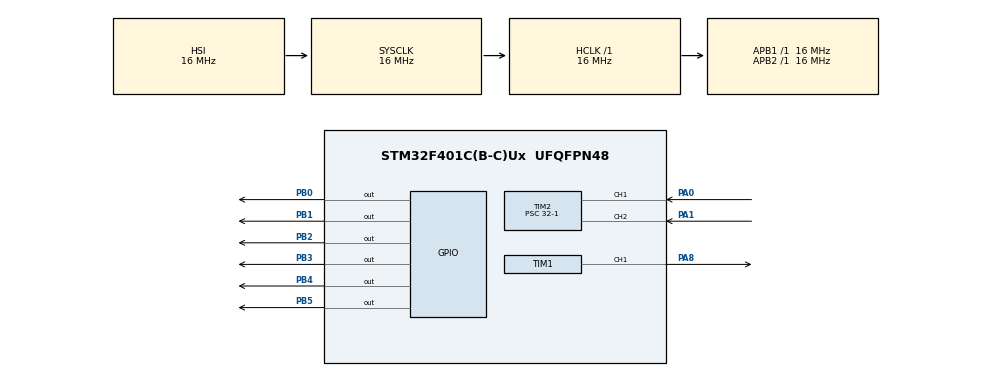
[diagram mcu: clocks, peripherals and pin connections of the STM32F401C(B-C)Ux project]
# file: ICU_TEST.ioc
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Mcu.Family=STM32F4
Mcu.Name=STM32F401C(B-C)Ux
Mcu.Package=UFQFPN48
NVIC.PriorityGroup=NVIC_PRIORITYGROUP_4
NVIC.TIM2_IRQn=true\:0\:0\:false\:false\:true\:true\:true\:true
PA0-WKUP.Signal=S_TIM2_CH1_ETR
PA1.Signal=S_TIM2_CH2
PA8.Signal=S_TIM1_CH1
PB0.Signal=GPIO_Output
PB1.Signal=GPIO_Output
PB2.Signal=GPIO_Output
PB3.Signal=GPIO_Output
PB4.Signal=GPIO_Output
PB5.Signal=GPIO_Output
PH0\ -\ OSC_IN.Mode=HSE-External-Oscillator
PH0\ -\ OSC_IN.Signal=RCC_OSC_IN
PH1\ -\ OSC_OUT.Mode=HSE-External-Oscillator
PH1\ -\ OSC_OUT.Signal=RCC_OSC_OUT
ProjectManager.HeapSize=0x200
ProjectManager.StackSize=0x400
ProjectManager.TargetToolchain=STM32CubeIDE
RCC.48MHZClocksFreq_Value=24000000
RCC.AHBFreq_Value=16000000
RCC.APB1Freq_Value=16000000
RCC.APB1TimCLKDivider=2
RCC.APB1TimFreq_Value=32000000
RCC.APB2Freq_Value=16000000
RCC.APB2TimCLKDivider=2
RCC.APB2TimFreq_Value=32000000
RCC.CortexFreq_Value=16000000
RCC.HSE_VALUE=8000000
RCC.HSI_VALUE=16000000
RCC.LSE_VALUE=32768
RCC.PLLSourceVirtual=RCC_PLLSOURCE_HSE
RCC.SYSCLKFreq_VALUE=16000000
RCC.VCOOutputFreq_Value=96000000
SH.S_TIM1_CH1.0=TIM1_CH1,PWM Generation1 CH1
SH.S_TIM2_CH1_ETR.0=TIM2_CH1,Input_Capture1_from_TI1
SH.S_TIM2_CH2.0=TIM2_CH2,Input_Capture2_from_TI2
TIM1.Channel-PWM\ Generation1\ CH1=TIM_CHANNEL_1
TIM1.Period=100-1
TIM1.Prescaler=32-1
TIM2.Channel-Input_Capture1_from_TI1=TIM_CHANNEL_1
TIM2.Channel-Input_Capture2_from_TI2=TIM_CHANNEL_2
TIM2.ICPolarity_CH2=TIM_INPUTCHANNELPOLARITY_BOTHEDGE
TIM2.Prescaler=32-1
VP_TIM1_VS_ClockSourceINT.Mode=Internal
VP_TIM2_VS_ClockSourceINT.Mode=Internal
board=custom

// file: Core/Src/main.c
/* USER CODE BEGIN Header */
/**
  ******************************************************************************
  * @file           : main.c
  * @brief          : Main program body
  ******************************************************************************
  * @attention
  *
  * Copyright (c) 2024 STMicroelectronics.
  * All rights reserved.
  *
  * This software is licensed under terms that can be found in the LICENSE file
  * in the root directory of this software component.
  * If no LICENSE file comes with this software, it is provided AS-IS.
  *
  ******************************************************************************
  */
/* USER CODE END Header */
#include "main.h"

/* USER CODE BEGIN Includes */
#include "lcd.h"
/* USER CODE END Includes */

/* USER CODE BEGIN PD */
#define TIMCLOCK   32000000
#define PRESCALAR  32
/* USER CODE END PD */

TIM_HandleTypeDef htim1;
TIM_HandleTypeDef htim2;

/* USER CODE BEGIN PV */
Lcd_PortType ports[]={GPIOB,GPIOB,GPIOB,GPIOB};
Lcd_PinType pins[]={GPIO_PIN_3,GPIO_PIN_2,GPIO_PIN_1,GPIO_PIN_0};
Lcd_HandleTypeDef lcd;
uint32_t IC_Val1 = 0;
uint32_t IC_Val2 = 0;
uint32_t Difference = 0;
int Is_First_Captured = 0;
float frequency = 0;

uint32_t IC_Val1PW = 0;
uint32_t IC_Val2PW = 0;
uint32_t DifferencePW = 0;
int Is_First_CapturedPW = 0;
uint32_t usWidth = 0;

uint8_t one[] = {
  0B10000,
  0B10000,
  0B10000,
  0B10000,
  0B10000,
  0B10000,
  0B11111,
  0B00000
};
uint8_t two[] = {
  0B11000,
  0B01000,
  0B01000,
  0B01000,
  0B01000,
  0B01000,
  0B01111,
  0B00000
};

uint8_t three[] = {
  0B11100,
  0B00100,
  0B00100,
  0B00100,
  0B00100,
  0B00100,
  0B00111,
  0B00000
};
uint8_t four[] = {
  0B11110,
  0B00010,
  0B00010,
  0B00010,
  0B00010,
  0B00010,
  0B00011,
  0B00000
};
uint8_t five[] = {
  0B11111,
  0B00000,
  0B00000,
  0B00000,
  0B00000,
  0B00000,
  0B00000,
  0B00000
};
/* USER CODE END PV */

void SystemClock_Config(void);
static void MX_GPIO_Init(void);
static void MX_TIM1_Init(void);
static void MX_TIM2_Init(void);

/* USER CODE BEGIN 0 */
void HAL_TIM_IC_CaptureCallback(TIM_HandleTypeDef *htim)
{
	if (htim->Channel == HAL_TIM_ACTIVE_CHANNEL_1)
	{
		if (Is_First_Captured==0) // if the first rising edge is not captured
		{
			IC_Val1 = HAL_TIM_ReadCapturedValue(htim, TIM_CHANNEL_1); // read the first value
			Is_First_Captured = 1;  // set the first captured as true
		}

		else   // If the first rising edge is captured, now we will capture the second edge
		{
			IC_Val2 = HAL_TIM_ReadCapturedValue(htim, TIM_CHANNEL_1);  // read second value

			if (IC_Val2 > IC_Val1)
			{
				Difference = IC_Val2-IC_Val1;
			}

			else if (IC_Val1 > IC_Val2)
			{
				Difference = (0xffffffff - IC_Val1) + IC_Val2;
			}

			float refClock = TIMCLOCK/(PRESCALAR);

			frequency = refClock/Difference;

			__HAL_TIM_SET_COUNTER(htim, 0);  // reset the counter
			Is_First_Captured = 0; // set it back to false
		}
	}
	if (htim->Channel == HAL_TIM_ACTIVE_CHANNEL_2)  // if the interrupt source is channel1
	{
		if (Is_First_CapturedPW==0) // if the first value is not captured
		{
			IC_Val1PW = HAL_TIM_ReadCapturedValue(htim, TIM_CHANNEL_2); // read the first value
			Is_First_CapturedPW = 1;  // set the first captured as true
		}

		else   // if the first is already captured
		{
			IC_Val2PW = HAL_TIM_ReadCapturedValue(htim, TIM_CHANNEL_2);  // read second value

			if (IC_Val2PW > IC_Val1PW)
			{
				DifferencePW = IC_Val2PW-IC_Val1PW;
			}

			else if (IC_Val1PW > IC_Val2PW)
			{
				DifferencePW = (0xffffffff - IC_Val1PW) + IC_Val2PW;
			}

			float refClock = TIMCLOCK/(PRESCALAR);
			float mFactor = 1000000/refClock;

			usWidth = DifferencePW*mFactor;
			usWidth=(100-(usWidth+1));
			__HAL_TIM_SET_COUNTER(htim, 0);  // reset the counter
			Is_First_CapturedPW = 0; // set it back to false
		}
	}
}
/* USER CODE END 0 */

int main(void)
{

	  /* MCU Configuration--------------------------------------------------------*/

	  /* Reset of all peripherals, Initializes the Flash interface and the Systick. */
	  HAL_Init();

	  /* Configure the system clock */
	  SystemClock_Config();

	  /* Initialize all configured peripherals */
	  MX_GPIO_Init();
	  MX_TIM1_Init();
	  MX_TIM2_Init();
	  /* USER CODE BEGIN 2 */
	  lcd = Lcd_create(ports, pins, GPIOB, GPIO_PIN_5, GPIOB, GPIO_PIN_4, LCD_4_BIT_MODE);
	  Lcd_define_char(&lcd,0,one);
	  Lcd_define_char(&lcd,1,two);
	  Lcd_define_char(&lcd,2,three);
	  Lcd_define_char(&lcd,3,four);
	  Lcd_define_char(&lcd,4,five);
	  TIM1->CCR1 = 90;
	  HAL_TIM_PWM_Start(&htim1, TIM_CHANNEL_1);
	  HAL_TIM_IC_Start_IT(&htim2, TIM_CHANNEL_1);
	  HAL_TIM_IC_Start_IT(&htim2, TIM_CHANNEL_2);

	  /* USER CODE END 2 */

	  /* Infinite loop */
	  while (1)
	  {

	    /* USER CODE BEGIN 3 */
		  Lcd_cursor(&lcd, 0,0);
		  Lcd_string(&lcd, "freq=");
		  Lcd_int(&lcd, frequency);
		  Lcd_cursor(&lcd, 1,0);
		  Lcd_int(&lcd,usWidth);
		  lcd_write_data(&lcd, '%');
		  for(int i=0;i<16;i++)
		  {
			  Lcd_cursor(&lcd, 1, i+3);
			  if(usWidth>=0 && usWidth <=20)
			  {
				  lcd_write_data(&lcd,0);
			  }else if(usWidth>20 && usWidth <=40)
			  {
				  lcd_write_data(&lcd,1);
			  }else if(usWidth>40 && usWidth <=60)
			  {
				  lcd_write_data(&lcd,2);
			  }else if(usWidth>60 && usWidth <=80)
			  {
				  lcd_write_data(&lcd,3);
			  }else if(usWidth>80 )
			  {
				  lcd_write_data(&lcd,4);
			  }
		  }
	  }
	  /* USER CODE END 3 */
}

void SystemClock_Config(void)
{
  RCC_OscInitTypeDef RCC_OscInitStruct = {0};
  RCC_ClkInitTypeDef RCC_ClkInitStruct = {0};

  /** Configure the main internal regulator output voltage
  */
  __HAL_RCC_PWR_CLK_ENABLE();
  __HAL_PWR_VOLTAGESCALING_CONFIG(PWR_REGULATOR_VOLTAGE_SCALE2);

  /** Initializes the RCC Oscillators according to the specified parameters
  * in the RCC_OscInitTypeDef structure.
  */
  RCC_OscInitStruct.OscillatorType = RCC_OSCILLATORTYPE_HSI;
  RCC_OscInitStruct.HSIState = RCC_HSI_ON;
  RCC_OscInitStruct.HSICalibrationValue = RCC_HSICALIBRATION_DEFAULT;
  RCC_OscInitStruct.PLL.PLLState = RCC_PLL_NONE;
  if (HAL_RCC_OscConfig(&RCC_OscInitStruct) != HAL_OK)
  {
    Error_Handler();
  }

  /** Initializes the CPU, AHB and APB buses clocks
  */
  RCC_ClkInitStruct.ClockType = RCC_CLOCKTYPE_HCLK|RCC_CLOCKTYPE_SYSCLK
                              |RCC_CLOCKTYPE_PCLK1|RCC_CLOCKTYPE_PCLK2;
  RCC_ClkInitStruct.SYSCLKSource = RCC_SYSCLKSOURCE_HSI;
  RCC_ClkInitStruct.AHBCLKDivider = RCC_SYSCLK_DIV1;
  RCC_ClkInitStruct.APB1CLKDivider = RCC_HCLK_DIV1;
  RCC_ClkInitStruct.APB2CLKDivider = RCC_HCLK_DIV1;

  if (HAL_RCC_ClockConfig(&RCC_ClkInitStruct, FLASH_LATENCY_0) != HAL_OK)
  {
    Error_Handler();
  }
}

static void MX_TIM1_Init(void)
{

  TIM_ClockConfigTypeDef sClockSourceConfig = {0};
  TIM_MasterConfigTypeDef sMasterConfig = {0};
  TIM_OC_InitTypeDef sConfigOC = {0};
  TIM_BreakDeadTimeConfigTypeDef sBreakDeadTimeConfig = {0};

  htim1.Instance = TIM1;
  htim1.Init.Prescaler = 32-1;
  htim1.Init.CounterMode = TIM_COUNTERMODE_UP;
  htim1.Init.Period = 100-1;
  htim1.Init.ClockDivision = TIM_CLOCKDIVISION_DIV1;
  htim1.Init.RepetitionCounter = 0;
  htim1.Init.AutoReloadPreload = TIM_AUTORELOAD_PRELOAD_DISABLE;
  if (HAL_TIM_Base_Init(&htim1) != HAL_OK)
  {
    Error_Handler();
  }
  sClockSourceConfig.ClockSource = TIM_CLOCKSOURCE_INTERNAL;
  if (HAL_TIM_ConfigClockSource(&htim1, &sClockSourceConfig) != HAL_OK)
  {
    Error_Handler();
  }
  if (HAL_TIM_PWM_Init(&htim1) != HAL_OK)
  {
    Error_Handler();
  }
  sMasterConfig.MasterOutputTrigger = TIM_TRGO_RESET;
  sMasterConfig.MasterSlaveMode = TIM_MASTERSLAVEMODE_DISABLE;
  if (HAL_TIMEx_MasterConfigSynchronization(&htim1, &sMasterConfig) != HAL_OK)
  {
    Error_Handler();
  }
  sConfigOC.OCMode = TIM_OCMODE_PWM1;
  sConfigOC.Pulse = 0;
  sConfigOC.OCPolarity = TIM_OCPOLARITY_HIGH;
  sConfigOC.OCNPolarity = TIM_OCNPOLARITY_HIGH;
  sConfigOC.OCFastMode = TIM_OCFAST_DISABLE;
  sConfigOC.OCIdleState = TIM_OCIDLESTATE_RESET;
  sConfigOC.OCNIdleState = TIM_OCNIDLESTATE_RESET;
  if (HAL_TIM_PWM_ConfigChannel(&htim1, &sConfigOC, TIM_CHANNEL_1) != HAL_OK)
  {
    Error_Handler();
  }
  sBreakDeadTimeConfig.OffStateRunMode = TIM_OSSR_DISABLE;
  sBreakDeadTimeConfig.OffStateIDLEMode = TIM_OSSI_DISABLE;
  sBreakDeadTimeConfig.LockLevel = TIM_LOCKLEVEL_OFF;
  sBreakDeadTimeConfig.DeadTime = 0;
  sBreakDeadTimeConfig.BreakState = TIM_BREAK_DISABLE;
  sBreakDeadTimeConfig.BreakPolarity = TIM_BREAKPOLARITY_HIGH;
  sBreakDeadTimeConfig.AutomaticOutput = TIM_AUTOMATICOUTPUT_DISABLE;
  if (HAL_TIMEx_ConfigBreakDeadTime(&htim1, &sBreakDeadTimeConfig) != HAL_OK)
  {
    Error_Handler();
  }
  HAL_TIM_MspPostInit(&htim1);

}

static void MX_TIM2_Init(void)
{

  TIM_ClockConfigTypeDef sClockSourceConfig = {0};
  TIM_MasterConfigTypeDef sMasterConfig = {0};
  TIM_IC_InitTypeDef sConfigIC = {0};

  htim2.Instance = TIM2;
  htim2.Init.Prescaler = 32-1;
  htim2.Init.CounterMode = TIM_COUNTERMODE_UP;
  htim2.Init.Period = 4294967295;
  htim2.Init.ClockDivision = TIM_CLOCKDIVISION_DIV1;
  htim2.Init.AutoReloadPreload = TIM_AUTORELOAD_PRELOAD_DISABLE;
  if (HAL_TIM_Base_Init(&htim2) != HAL_OK)
  {
    Error_Handler();
  }
  sClockSourceConfig.ClockSource = TIM_CLOCKSOURCE_INTERNAL;
  if (HAL_TIM_ConfigClockSource(&htim2, &sClockSourceConfig) != HAL_OK)
  {
    Error_Handler();
  }
  if (HAL_TIM_IC_Init(&htim2) != HAL_OK)
  {
    Error_Handler();
  }
  sMasterConfig.MasterOutputTrigger = TIM_TRGO_RESET;
  sMasterConfig.MasterSlaveMode = TIM_MASTERSLAVEMODE_DISABLE;
  if (HAL_TIMEx_MasterConfigSynchronization(&htim2, &sMasterConfig) != HAL_OK)
  {
    Error_Handler();
  }
  sConfigIC.ICPolarity = TIM_INPUTCHANNELPOLARITY_RISING;
  sConfigIC.ICSelection = TIM_ICSELECTION_DIRECTTI;
  sConfigIC.ICPrescaler = TIM_ICPSC_DIV1;
  sConfigIC.ICFilter = 0;
  if (HAL_TIM_IC_ConfigChannel(&htim2, &sConfigIC, TIM_CHANNEL_1) != HAL_OK)
  {
    Error_Handler();
  }
  sConfigIC.ICPolarity = TIM_INPUTCHANNELPOLARITY_BOTHEDGE;
  if (HAL_TIM_IC_ConfigChannel(&htim2, &sConfigIC, TIM_CHANNEL_2) != HAL_OK)
  {
    Error_Handler();
  }

}

static void MX_GPIO_Init(void)
{
  GPIO_InitTypeDef GPIO_InitStruct = {0};

  /* GPIO Ports Clock Enable */
  __HAL_RCC_GPIOH_CLK_ENABLE();
  __HAL_RCC_GPIOA_CLK_ENABLE();
  __HAL_RCC_GPIOB_CLK_ENABLE();

  /*Configure GPIO pin Output Level */
  HAL_GPIO_WritePin(GPIOB, GPIO_PIN_0|GPIO_PIN_1|GPIO_PIN_2|GPIO_PIN_3
                          |GPIO_PIN_4|GPIO_PIN_5, GPIO_PIN_RESET);

  /*Configure GPIO pins : PB0 PB1 PB2 PB3
                           PB4 PB5 */
  GPIO_InitStruct.Pin = GPIO_PIN_0|GPIO_PIN_1|GPIO_PIN_2|GPIO_PIN_3
                          |GPIO_PIN_4|GPIO_PIN_5;
  GPIO_InitStruct.Mode = GPIO_MODE_OUTPUT_PP;
  GPIO_InitStruct.Pull = GPIO_NOPULL;
  GPIO_InitStruct.Speed = GPIO_SPEED_FREQ_LOW;
  HAL_GPIO_Init(GPIOB, &GPIO_InitStruct);

}

void Error_Handler(void)
{
  __disable_irq();
  while (1)
  {
  }
}
